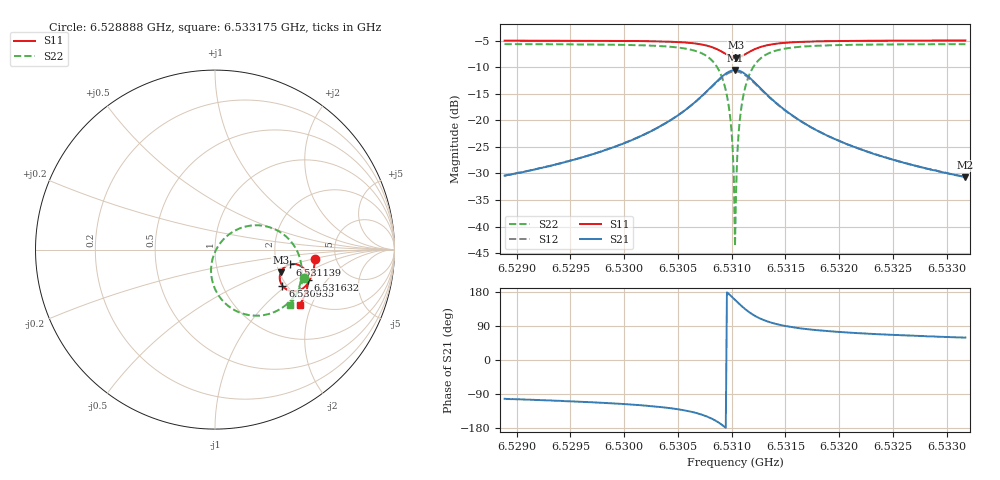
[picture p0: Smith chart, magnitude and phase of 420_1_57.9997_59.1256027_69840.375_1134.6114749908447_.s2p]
#  HZ  S  RI  R  50.00
! Rohde & Schwarz Vector Network Analyzer
! Rohde-Schwarz,ZNB20-2Port,1311601062101988,3.16
! Created: UTC 3/21/2024, 1:09:06 AM
! freq[Hz]  re:S11  im:S11  re:S21  im:S21  re:S12  im:S12  re:S22  im:S22
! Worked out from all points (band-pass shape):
!   401 points, 6.528888 GHz to 6.533175 GHz, reference 50 ohm
!   highest |S21| = -10.56 dB at 6.531032 GHz (marker M1); lowest = -30.7 dB at 6.533175 GHz (marker M2)
!   |S21| within 3 dB of the highest: 6.530819 GHz to 6.531248 GHz (429 kHz wide, 0.00657 % of centre)
!   lowest |S11| = -8.2 dB at 6.531042 GHz (marker M3), VSWR 2.27, Z = 102 - j30.4 ohm
!   |S11| at or under -10 dB: nowhere
!   |S22| runs from -43.7 to -5.7 dB; largest |S21 - S12| = 0.011
!   S11 on the Smith chart (normalised r, x): 6.528888 GHz: 3.47, -0.54; 6.530935 GHz: 1.90, -0.94; 6.531139 GHz: 2.36, -0.48; 6.531632 GHz: 2.71, -1.29; 6.533175 GHz: 1.83, -1.65
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6.5288877e9  0.5586 -0.0529  -0.00643 -0.0294  -0.00706 -0.0293  0.4964 -0.1559
6.5296059e9  0.5488 -0.1121  -0.0156 -0.0418  -0.0165 -0.0416  0.467 -0.2218
6.5303241e9  0.5213 -0.1821  -0.0479 -0.0719  -0.0498 -0.0706  0.3887 -0.3139
6.5307528e9  0.4526 -0.2317  -0.1518 -0.0977  -0.1541 -0.0917  0.1887 -0.3648
6.53086e9  0.4094 -0.2271  -0.219 -0.0727  -0.2186 -0.0638  0.0733 -0.3135
6.530935e9  0.3756 -0.2012  -0.269 -0.0169  -0.2639 -0.00749  -0.00333 -0.2114
6.5309886e9  0.3613 -0.1669  -0.2862 0.0485  -0.2773 0.0555  -0.0216 -0.1002
6.5309994e9  0.3606 -0.1589  -0.2859 0.0631  -0.2766 0.0693  -0.0188 -0.076
6.5310101e9  0.3607 -0.1507  -0.2841 0.0778  -0.2745 0.0834  -0.0137 -0.0519
6.5310208e9  0.3616 -0.1426  -0.281 0.0925  -0.2711 0.0971  -0.00625 -0.0282
6.5310315e9  0.3636 -0.1346  -0.2764 0.107  -0.2663 0.1106  0.00386 -0.00527
6.5310422e9  0.3663 -0.1268  -0.2703 0.121  -0.2602 0.1236  0.0159 0.0167
6.531053e9  0.3699 -0.1193  -0.263 0.134  -0.2529 0.1359  0.03 0.0372
6.5310637e9  0.3742 -0.1124  -0.2545 0.1464  -0.2445 0.1473  0.046 0.0559
6.5310851e9  0.3847 -0.1003  -0.2344 0.1677  -0.2254 0.167  0.0821 0.0878
6.5311387e9  0.4165 -0.0826  -0.1762 0.1996  -0.1698 0.1967  0.1834 0.1314
6.531203e9  0.453 -0.0815  -0.112 0.2038  -0.1085 0.2008  0.292 0.1278
6.5312995e9  0.489 -0.0998  -0.0492 0.1794  -0.0474 0.1775  0.3956 0.0735
6.5316318e9  0.5191 -0.167  0.0107 0.0992  0.0118 0.0989  0.4817 -0.0932
6.5317497e9  0.5188 -0.184  0.0149 0.0834  0.0158 0.0831  0.4829 -0.1282
6.5324679e9  0.4989 -0.2559  0.0172 0.0399  0.0179 0.0398  0.4554 -0.2445
6.5331753e9  0.4715 -0.3079  0.0148 0.025  0.0155 0.025  0.4204 -0.3059
